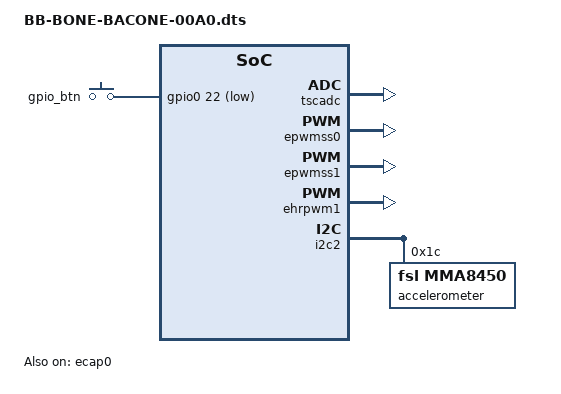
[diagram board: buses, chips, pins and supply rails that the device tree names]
/*
 * Copyright (C) 2013 Circuit Co.
 *
 * This program is free software; you can redistribute it and/or modify
 * it under the terms of the GNU General Public License version 2 as
 * published by the Free Software Foundation.
 */
/dts-v1/;
/plugin/;

#include <dt-bindings/board/am335x-bbw-bbb-base.h>
#include <dt-bindings/gpio/gpio.h>
#include <dt-bindings/pinctrl/am33xx.h>

/ {
	compatible = "ti,beaglebone", "ti,beaglebone-black", "ti,beaglebone-green";

	/* identification */
	part-number = "BB-BONE-BACONE";
	version = "00A0";

	/* state the resources this cape uses */
	exclusive-use =
		/* the pin header uses */
		"P9.36",	/* AIN5 */
		"P8.19",	/* gpio-keys: gpio0_22 */
		"P9.14",	/* pwm: ehrpwm1A */
		"P9.16",	/* pwm: ehrpwm1B */
		"P9.42",	/* pwm: eCAP0_in_PWM0_out */
		"P9.15",	/* shift: gpio1_16 CLEAR */
		"P9.17",	/* shift: gpio0_5 LATCH */
		"P9.18",	/* shift: gpio0_4 SERIAL */
		"P9.22",	/* shift: gpio0_2 CLOCK */
		/* the hardware ip uses */
		"tscadc",
		"gpio0_22",
		"ehrpwm1A",
		"ehrpwm1B",
		"eCAP0_in_PWM0_out",
		"gpio1_16",
		"gpio0_5",
		"gpio0_4",
		"gpio0_2";

	fragment@0 {
		target = <&am33xx_pinmux>;
		__overlay__ {

			bb_gpio0_22_pins: pinmux_bb_gpio0_22_pins {
				pinctrl-single,pins = <
					BONE_P8_19 (PIN_INPUT | MUX_MODE7) /* gpmc_ad8.gpio0_22 */
				>;
			};

			bb_ehrpwm1_pins: pinmux_bb_ehrpwm1_pins {
				pinctrl-single,pins = <
					BONE_P9_14 (PIN_OUTPUT_PULLDOWN | MUX_MODE6) /* P9_14 (ZCZ ball U14) | MODE 6 */
					BONE_P9_16 (PIN_OUTPUT_PULLDOWN | MUX_MODE6) /* P9_16 (ZCZ ball T14) | MODE 6 */
				>;
			};

			bb_ecap0_pins: pinmux_bb_ecap0_pins {
				pinctrl-single,pins = <
					BONE_P9_42A (PIN_OUTPUT_PULLDOWN | MUX_MODE0) /* P9_42 (ZCZ ball C18) | MODE 0 */
				>;
			};

			bacon_gpiohelp_pins: pinmux_bacon_gpio_helper_pins {
				pinctrl-single,pins = <
					0x020 0x2f /* gpmc_ad8.gpio0_22, INPUT | PULLDIS | MODE7 */
					0x040 0x0f /* P9 15 .gpio1_16 | MODE7 | OUTPUT */
					0x15c 0x0f /* P9 17 spi0_cs0.gpio0_5 | MODE7 | OUTPUT */
					0x158 0x0f /* P9 18 spi0_d1.gpio0_4 | MODE7 | OUTPUT */
					0x150 0x0f /* P9 22 spi0_sclk.gpio0_2 | MODE7 | OUTPUT */
				>;
			};
		};
	};

	fragment@1 {
		target-path="/";
		__overlay__ {

			gpio_keys {
				compatible = "gpio-keys";
				pinctrl-names = "default";
				pinctrl-0 = <&bb_gpio0_22_pins>;

				/* avoid stupid warning */
				#address-cells = <1>;
				#size-cells = <0>;

				button@1 {
					debounce_interval = <50>;
					linux,code = <143>; /* System Wake Up */
					label = "gpio_btn";
					gpios = <&gpio0 22 GPIO_ACTIVE_LOW>;
					gpio-key,wakeup;
				};
			};
		};
	};

	fragment@2 {
		target = <&tscadc>;
		__overlay__ {

			status = "okay";
			adc {
				ti,adc-channels = <6>; /* AIN5 */
			};
		};
	};

	fragment@3 {
		target = <&epwmss0>;
		__overlay__ {
			status = "okay";
		};
	};

	fragment@4 {
		target = <&ecap0>;
		__overlay__ {
			pinctrl-names = "default";
			pinctrl-0 = <&bb_ecap0_pins>;
			status = "okay";
		};
	};

	fragment@5 {
		target = <&epwmss1>;
		__overlay__ {
			status = "okay";
		};
	};

	fragment@6 {
		target = <&ehrpwm1>;
		__overlay__ {
			pinctrl-names = "default";
			pinctrl-0 = <&bb_ehrpwm1_pins>;
			status = "okay";
		};
	};

	fragment@7 {
		target = <&i2c2>;
		__overlay__ {
			#address-cells = <1>;
			#size-cells = <0>;

			accelerometer: mma8450@1c {
				compatible = "fsl,mma8450";
				reg = <0x1c>;
			};
		};
	};
};
